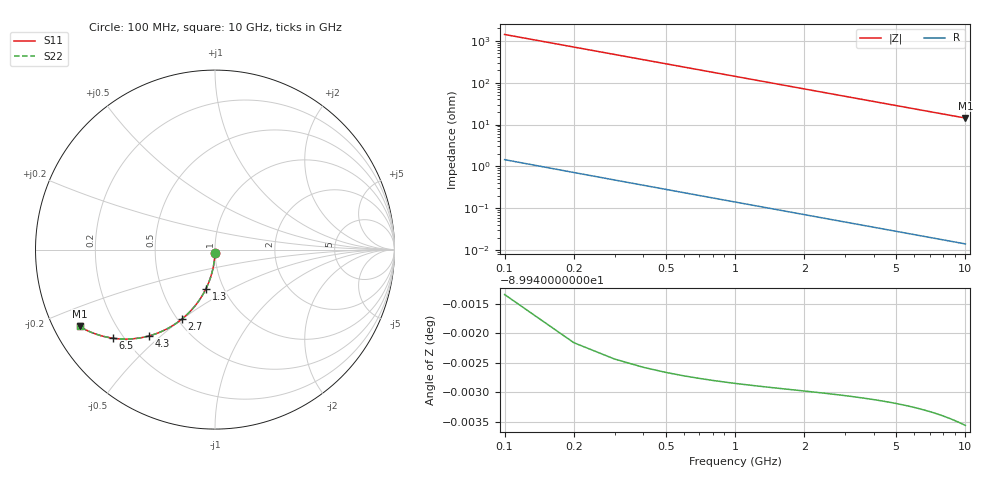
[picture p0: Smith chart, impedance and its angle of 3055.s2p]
# Hz S RI R 50.00
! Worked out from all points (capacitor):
!   100 points, 100 MHz to 10 GHz, reference 50 ohm
!   read as one part in shunt: C = 1.13 pF near 100 MHz
!   lowest |Z| = 14.3 ohm at 10 GHz (marker M1)
!   S11 on the Smith chart (normalised r, x): 100 MHz: 1.00, -0.04; 1.3 GHz: 0.83, -0.38; 2.7 GHz: 0.52, -0.50; 4.3 GHz: 0.30, -0.46; 6.5 GHz: 0.16, -0.37; 10 GHz: 0.08, -0.26
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1e8  -0.000323 -0.0177  0.9997 -0.0177  0.9997 -0.0177  -0.000323 -0.0177
2e8  -0.00128 -0.0353  0.9987 -0.0353  0.9987 -0.0353  -0.00128 -0.0353
3e8  -0.00285 -0.0528  0.9971 -0.0529  0.9971 -0.0529  -0.00285 -0.0528
4e8  -0.00504 -0.0703  0.9949 -0.0704  0.9949 -0.0704  -0.00504 -0.0703
5e8  -0.00783 -0.0876  0.9922 -0.0878  0.9922 -0.0878  -0.00783 -0.0876
6e8  -0.0112 -0.1048  0.9888 -0.105  0.9888 -0.105  -0.0112 -0.1048
7e8  -0.0152 -0.1217  0.9848 -0.1219  0.9848 -0.1219  -0.0152 -0.1217
8e8  -0.0197 -0.1385  0.9803 -0.1387  0.9803 -0.1387  -0.0197 -0.1385
1e9  -0.0304 -0.1712  0.9695 -0.1715  0.9695 -0.1715  -0.0304 -0.1712
1.3e9  -0.0503 -0.2179  0.9497 -0.2183  0.9497 -0.2183  -0.0503 -0.2179
1.5e9  -0.0658 -0.2473  0.9342 -0.2478  0.9342 -0.2478  -0.0658 -0.2473
1.8e9  -0.092 -0.2883  0.9079 -0.2889  0.9079 -0.2889  -0.092 -0.2883
2.2e9  -0.1314 -0.337  0.8686 -0.3377  0.8686 -0.3377  -0.1314 -0.337
2.7e9  -0.1854 -0.3876  0.8146 -0.3885  0.8146 -0.3885  -0.1854 -0.3876
3.4e9  -0.2648 -0.4402  0.7352 -0.4413  0.7352 -0.4413  -0.2648 -0.4402
4.3e9  -0.3651 -0.4802  0.6349 -0.4817  0.6349 -0.4817  -0.3651 -0.4802
5.1e9  -0.4468 -0.4958  0.5532 -0.4975  0.5532 -0.4975  -0.4468 -0.4958
6.5e9  -0.5668 -0.4939  0.4332 -0.4961  0.4332 -0.4961  -0.5668 -0.4939
6.7e9  -0.5815 -0.4917  0.4185 -0.4939  0.4185 -0.4939  -0.5815 -0.4917
7.5e9  -0.6349 -0.4797  0.3651 -0.4822  0.3651 -0.4822  -0.6349 -0.4797
8.4e9  -0.6853 -0.4625  0.3147 -0.4653  0.3147 -0.4653  -0.6853 -0.4625
1e10  -0.7549 -0.428  0.2451 -0.4313  0.2451 -0.4313  -0.7549 -0.428
